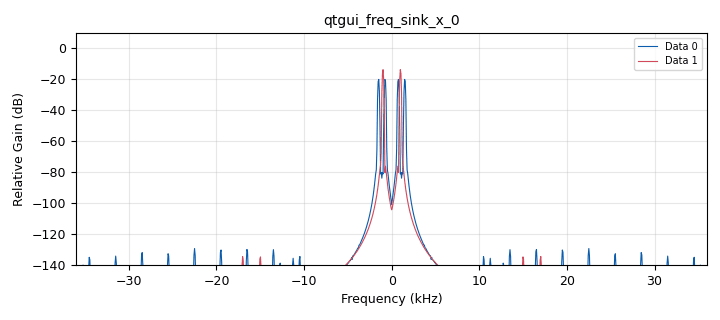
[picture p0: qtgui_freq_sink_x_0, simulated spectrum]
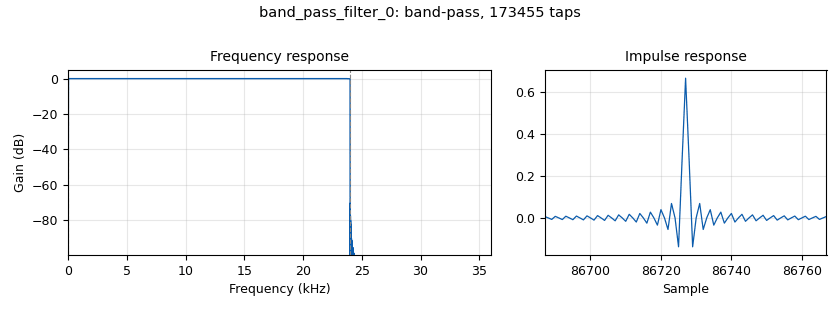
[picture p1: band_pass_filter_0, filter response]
options:
  parameters:
    generate_options: qt_gui
    id: gkokol
    output_language: python
    title: Not titled yet
  states: {}

blocks:
- name: cos_freq_range
  id: variable_qtgui_range
  parameters:
    orient: Qt.Horizontal
    start: '0'
    step: '1'
    stop: 24e3
    value: 1e3
  states: {}
- name: input_samp_rate
  id: variable
  parameters:
    value: '48000'
  states: {}
- name: output_samp_rate
  id: variable
  parameters:
    value: '72000'
  states: {}
- name: analog_sig_source_x_0
  id: analog_sig_source_x
  parameters:
    amp: '1'
    freq: cos_freq_range
    offset: '0'
    phase: '0'
    samp_rate: input_samp_rate
    type: float
    waveform: analog.GR_COS_WAVE
  states: {}
- name: analog_sig_source_x_0_0
  id: analog_sig_source_x
  parameters:
    amp: '1'
    freq: cos_freq_range
    offset: '0'
    phase: '0'
    samp_rate: input_samp_rate
    type: float
    waveform: analog.GR_COS_WAVE
  states: {}
- name: analog_sig_source_x_0_1
  id: analog_sig_source_x
  parameters:
    amp: '1'
    freq: cos_freq_range
    offset: '0'
    phase: '0'
    samp_rate: output_samp_rate
    type: float
    waveform: analog.GR_COS_WAVE
  states: {}
- name: band_pass_filter_0
  id: band_pass_filter
  parameters:
    decim: '1'
    gain: '1'
    high_cutoff_freq: 24e3
    low_cutoff_freq: '1'
    samp_rate: output_samp_rate
    type: fir_filter_fff
    width: '1'
    win: firdes.WIN_HAMMING
  states: {}
- name: blocks_deinterleave_0
  id: blocks_deinterleave
  parameters:
    type: float
  states: {}
- name: blocks_interleave_0
  id: blocks_interleave
  parameters:
    type: float
  states: {}
- name: blocks_null_sink_0
  id: blocks_null_sink
  parameters:
    type: float
  states: {}
- name: blocks_throttle_0
  id: blocks_throttle
  parameters:
    samples_per_second: output_samp_rate
    type: float
  states: {}
- name: qtgui_freq_sink_x_0
  id: qtgui_freq_sink_x
  parameters:
    average: '0.1'
    bw: output_samp_rate
    fc: '0'
    fftsize: '1024'
    nconnections: '2'
    type: float
    wintype: firdes.WIN_BLACKMAN
  states: {}

connections:
- [analog_sig_source_x_0, '0', blocks_interleave_0, '0']
- [analog_sig_source_x_0_0, '0', blocks_deinterleave_0, '0']
- [analog_sig_source_x_0_1, '0', qtgui_freq_sink_x_0, '1']
- [band_pass_filter_0, '0', qtgui_freq_sink_x_0, '0']
- [blocks_deinterleave_0, '0', blocks_interleave_0, '1']
- [blocks_deinterleave_0, '1', blocks_null_sink_0, '0']
- [blocks_interleave_0, '0', blocks_throttle_0, '0']
- [blocks_throttle_0, '0', band_pass_filter_0, '0']

metadata:
  file_format: 1
